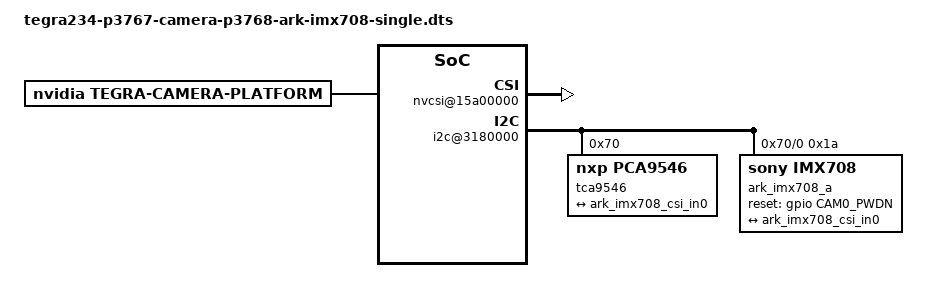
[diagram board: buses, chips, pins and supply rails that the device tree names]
// SPDX-License-Identifier: GPL-2.0-only
// SPDX-FileCopyrightText: Copyright (c) 2023-2024, NVIDIA CORPORATION & AFFILIATES. All rights reserved.
// SPDX-FileCopyrightText: Copyright (c) 2023, RidgeRun. All rights reserved.
//
// IMX708 (Raspberry Pi / Arducam Camera Module 3) single-camera overlay for the
// ARK p3768 carrier. Carrier wiring (TCA9546 mux, CAM0 reset, CSI0) mirrors the
// IMX219 single overlay; the sensor node and mode0 timings come from RidgeRun's
// open-access IMX708 driver. One 10-bit mode, 4608x2592 @ ~14 fps. Focus is fixed
// (the module's autofocus VCM is not driven). See ark-imx219-single for the full
// mode-property reference.

/dts-v1/;
/plugin/;

#define CAM0_PWDN	TEGRA234_MAIN_GPIO(H, 6)
#define CAMERA_I2C_MUX_BUS(x) (0x1E + x)

#include <dt-bindings/tegra234-p3767-0000-common.h>

/ {
	overlay-name = "Camera ARK IMX708 Single";
	jetson-header-name = "Jetson 22pin CSI Connector";
	compatible = JETSON_COMPATIBLE_P3768;

	fragment-camera@0 {
		target-path = "/";
		__overlay__ {
			tegra-capture-vi  {
				num-channels = <1>;
				ports {
					#address-cells = <1>;
					#size-cells = <0>;
					port@0 {
						reg = <0>;
						ark_imx708_vi_in0: endpoint {
							port-index = <0>;
							bus-width = <2>;
							remote-endpoint = <&ark_imx708_csi_out0>;
						};
					};
				};
			};
			tegra-camera-platform {
				compatible = "nvidia, tegra-camera-platform";
				num_csi_lanes = <2>;
				max_lane_speed = <2500000>;	/* imx708 pixel clock is 297.6 MHz vs imx219's 182.4 MHz */
				min_bits_per_pixel = <10>;
				vi_peak_byte_per_pixel = <2>;
				vi_bw_margin_pct = <25>;
				max_pixel_rate = <240000>;	/* ~167 Mpix/s @ 4608x2592x14, same as imx219 */
				isp_peak_byte_per_pixel = <5>;
				isp_bw_margin_pct = <25>;
				modules {
					module0 {
						badge = "ark_imx708_rear_IMX708";
						position = "rear";
						orientation = "0";
						drivernode0 {
							pcl_id = "v4l2_sensor";
							sysfs-device-tree = "/sys/firmware/devicetree/base/bus@0/i2c@3180000/tca9546@70/i2c@0/ark_imx708_a@1a";
						};
					};
				};
			};
			bus@0 {
				host1x@13e00000 {
					nvcsi@15a00000 {
						num-channels = <1>;
						#address-cells = <1>;
						#size-cells = <0>;
						status = "okay";
						channel@0 {
							reg = <0>;
							ports {
								#address-cells = <1>;
								#size-cells = <0>;
								port@0 {
									reg = <0>;
									ark_imx708_csi_in0: endpoint@0 {
										port-index = <0>;
										bus-width = <2>;
										remote-endpoint = <&ark_imx708_out0>;
									};
								};
								port@1 {
									reg = <1>;
									ark_imx708_csi_out0: endpoint@1 {
										remote-endpoint = <&ark_imx708_vi_in0>;
									};
								};
							};
						};
					};
				};
				i2c@3180000 {
					#address-cells = <1>;
					#size-cells = <0>;
					tca9546@70 {
						status = "okay";
						compatible = "nxp,pca9546";
						#address-cells = <1>;
						#size-cells = <0>;
						reg = <0x70>;
						i2c-parent = <&cam_i2c>;
						skip_mux_detect = "yes";
						force_bus_start = <CAMERA_I2C_MUX_BUS(0)>;
						i2c@0 {
							reg = <0>;
							#address-cells = <1>;
							#size-cells = <0>;
							i2c-mux,deselect-on-exit;
							status = "okay";

							/* Disable the baked-default IMX219 on this mux bus so only IMX708 is active here. */
							ark_imx219_a@10 {
								status = "disabled";
							};

							ark_imx708_a@1a {
								status = "okay";
								reset-gpios = <&gpio CAM0_PWDN GPIO_ACTIVE_HIGH>;
								compatible = "sony,imx708";
								/* I2C device address */
								reg = <0x1a>;
								/* V4L2 device node location */
								devnode = "video0";
								/* Physical dimensions of sensor */
								physical_w = "6.45";
								physical_h = "3.63";
								sensor_model = "imx708";
								use_sensor_mode_id = "true";

								mode0 { /* IMX708_MODE_4608x2592_14FPS */
									mclk_khz = "24000";
									num_lanes = "2";
									tegra_sinterface = "serial_a";
									lane_polarity = "6";
									phy_mode = "DPHY";
									discontinuous_clk = "yes";
									dpcm_enable = "false";
									cil_settletime = "0";
									active_w = "4608";
									active_h = "2592";
									mode_type = "bayer";
									pixel_phase = "rggb";
									csi_pixel_bit_depth = "10";
									readout_orientation = "90";
									line_length = "4808";
									inherent_gain = "1";
									pix_clk_hz = "297600000";
									gain_factor = "16";
									framerate_factor = "1000000";
									exposure_factor = "1000000";
									min_gain_val = "16"; /* 1.00x */
									max_gain_val = "256"; /* 16.00x */
									step_gain_val = "1";
									default_gain = "16"; /* 1.00x */
									min_hdr_ratio = "1";
									max_hdr_ratio = "1";
									min_framerate = "2000000"; /* 2.0 fps */
									max_framerate = "14000000"; /* 14.0 fps */
									step_framerate = "1";
									default_framerate = "14000000"; /* 14.0 fps */
									min_exp_time = "500"; /* us */
									max_exp_time = "65487"; /* us */
									step_exp_time = "1";
									default_exp_time = "1600"; /* us */
									embedded_metadata_height = "4";
								};
								ports {
									#address-cells = <1>;
									#size-cells = <0>;
									port@0 {
										reg = <0>;
										ark_imx708_out0: endpoint {
											status = "okay";
											port-index = <0>;
											bus-width = <2>;
											remote-endpoint = <&ark_imx708_csi_in0>;
										};
									};
								};
							};
						};
					};
				};

				gpio@2200000 {
					camera-control-output-high {
					gpios = <CAM0_PWDN 1>;
					label = "cam0-pwdn";
					};
				};
			};
		};
	};
};
